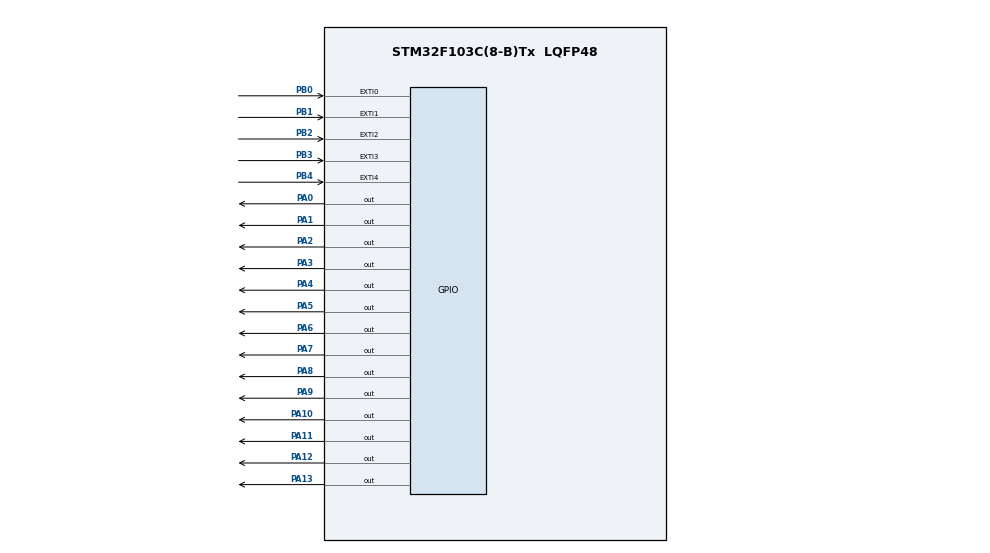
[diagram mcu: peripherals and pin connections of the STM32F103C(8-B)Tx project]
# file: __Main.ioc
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Mcu.Family=STM32F1
Mcu.Name=STM32F103C(8-B)Tx
Mcu.Package=LQFP48
NVIC.EXTI0_IRQn=true\:2\:0\:true\:false\:true\:true\:true\:true
NVIC.EXTI1_IRQn=true\:0\:0\:false\:false\:true\:true\:true\:true
NVIC.EXTI2_IRQn=true\:0\:0\:false\:false\:true\:true\:true\:true
NVIC.EXTI3_IRQn=true\:0\:0\:false\:false\:true\:true\:true\:true
NVIC.EXTI4_IRQn=true\:0\:0\:false\:false\:true\:true\:true\:true
NVIC.PriorityGroup=NVIC_PRIORITYGROUP_4
NVIC.TIM2_IRQn=true\:1\:0\:true\:false\:true\:true\:true\:true
PA0-WKUP.Signal=GPIO_Output
PA1.Signal=GPIO_Output
PA10.Signal=GPIO_Output
PA11.Signal=GPIO_Output
PA12.Signal=GPIO_Output
PA13.Signal=GPIO_Output
PA2.Signal=GPIO_Output
PA3.Signal=GPIO_Output
PA4.Signal=GPIO_Output
PA5.Signal=GPIO_Output
PA6.Signal=GPIO_Output
PA7.Signal=GPIO_Output
PA8.Signal=GPIO_Output
PA9.Signal=GPIO_Output
PB0.Signal=GPXTI0
PB1.Signal=GPXTI1
PB2.Signal=GPXTI2
PB3.Signal=GPXTI3
PB4.Signal=GPXTI4
ProjectManager.HeapSize=0x200
ProjectManager.StackSize=0x400
ProjectManager.TargetToolchain=STM32CubeIDE
RCC.AHBFreq_Value=8000000
RCC.APB1Freq_Value=8000000
RCC.APB1TimFreq_Value=8000000
RCC.APB2CLKDivider=RCC_HCLK_DIV2
RCC.APB2Freq_Value=4000000
RCC.APB2TimFreq_Value=8000000
RCC.HCLKFreq_Value=8000000
TIM2.Period=8000-1
TIM2.Prescaler=1000-1
VP_SYS_VS_ND.Mode=No_Debug
VP_TIM2_VS_ClockSourceINT.Mode=Internal
board=custom

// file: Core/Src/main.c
/* USER CODE BEGIN Header */
/**
 ******************************************************************************
 * @file           : main.c
 * @brief          : Main program body
 ******************************************************************************
 * @attention
 *
 * Copyright (c) 2023 STMicroelectronics.
 * All rights reserved.
 *
 * This software is licensed under terms that can be found in the LICENSE file
 * in the root directory of this software component.
 * If no LICENSE file comes with this software, it is provided AS-IS.
 *
 ******************************************************************************
 */
/* USER CODE END Header */
#include "main.h"

/* USER CODE BEGIN PD */
// Define GPIO port and pin numbers for segment and digit pins
#define SEGMENT_PORT GPIOA
#define DIGIT_PORT GPIOA
#define SEGMENT_PIN_A GPIO_PIN_0
#define SEGMENT_PIN_B GPIO_PIN_1
#define SEGMENT_PIN_C GPIO_PIN_2
#define SEGMENT_PIN_D GPIO_PIN_3
#define SEGMENT_PIN_E GPIO_PIN_4
#define SEGMENT_PIN_F GPIO_PIN_5
#define SEGMENT_PIN_G GPIO_PIN_6
#define DIGIT_PIN_1 GPIO_PIN_7
#define DIGIT_PIN_2 GPIO_PIN_8
#define DIGIT_PIN_3 GPIO_PIN_9
#define DIGIT_PIN_4 GPIO_PIN_10
#define DIGIT_PIN_5 GPIO_PIN_11
#define DIGIT_PIN_6 GPIO_PIN_12

// Lookup table for segment configurations for each digit (0-9)
const uint8_t segmentConfigurations[10] = {
SEGMENT_PIN_A | SEGMENT_PIN_B | SEGMENT_PIN_C | SEGMENT_PIN_D | SEGMENT_PIN_E
		| SEGMENT_PIN_F,                 // Digit 0
		SEGMENT_PIN_B | SEGMENT_PIN_C,                                // Digit 1
		SEGMENT_PIN_A | SEGMENT_PIN_B | SEGMENT_PIN_D | SEGMENT_PIN_E
				| SEGMENT_PIN_G,                                 // Digit 2
		SEGMENT_PIN_A | SEGMENT_PIN_B | SEGMENT_PIN_C | SEGMENT_PIN_D
				| SEGMENT_PIN_G,                                 // Digit 3
		SEGMENT_PIN_B | SEGMENT_PIN_C | SEGMENT_PIN_F | SEGMENT_PIN_G, // Digit 4
		SEGMENT_PIN_A | SEGMENT_PIN_C | SEGMENT_PIN_D | SEGMENT_PIN_F
				| SEGMENT_PIN_G,                                 // Digit 5
		SEGMENT_PIN_A | SEGMENT_PIN_C | SEGMENT_PIN_D | SEGMENT_PIN_E
				| SEGMENT_PIN_F | SEGMENT_PIN_G,                 // Digit 6
		SEGMENT_PIN_A | SEGMENT_PIN_B | SEGMENT_PIN_C,                // Digit 7
		SEGMENT_PIN_A | SEGMENT_PIN_B | SEGMENT_PIN_C | SEGMENT_PIN_D
				| SEGMENT_PIN_E | SEGMENT_PIN_F | SEGMENT_PIN_G, // Digit 8
		SEGMENT_PIN_A | SEGMENT_PIN_B | SEGMENT_PIN_C | SEGMENT_PIN_D
				| SEGMENT_PIN_F | SEGMENT_PIN_G                  // Digit 9
};

uint8_t num1 = 0, num2 = 0, num3 = 0, num4 = 0, num5 = 0, num6 = 0;

int run_status = 0;

/* USER CODE END PD */

TIM_HandleTypeDef htim2;

void SystemClock_Config(void);
static void MX_GPIO_Init(void);
static void MX_TIM2_Init(void);
/* USER CODE BEGIN PFP */
void Normalize_Digits() {
	if (num1 > 9) {
		num1 = 0;
		num2++;
	}
	if (num2 > 5) {
		num2 = 0;
		num3++;
	}
	if (num3 > 9) {
		num3 = 0;
		num4++;
	}
	if (num4 > 5) {
		num4 = 0;
		num5++;
	}
	if (num5 > 9) {
		num5 = 0;
		num6++;
	}
	if (num6 > 9) {
		num6 = 0;
	}
}

void HAL_TIM_PeriodElapsedCallback(TIM_HandleTypeDef *htim) {
	if (htim->Instance == TIM2) {
		if (run_status == 1) {
			num1++;
			Normalize_Digits();
		}
	}
}

void HAL_GPIO_EXTI_Callback(uint16_t GPIO_Pin) {
	if (GPIO_Pin == GPIO_PIN_0) {
		num1 = 0, num2 = 0, num3 = 0, num4 = 0, num5 = 0, num6 = 0;
	}

	if (GPIO_Pin == GPIO_PIN_1) {
		num1++;
		Normalize_Digits();
	}

	if (GPIO_Pin == GPIO_PIN_2) {
		num3++;
		Normalize_Digits();
	}

	if (GPIO_Pin == GPIO_PIN_3) {
		num5++;
		Normalize_Digits();
	}

	if (GPIO_Pin == GPIO_PIN_4) {
		if (run_status == 0)
			run_status = 1;
		else
			run_status = 0;
	}

}

/* USER CODE END PFP */

/* USER CODE BEGIN 0 */
// Function to display a digit on a specific position of the 6-digit seven-segment display
void displayDigitOnSegment(uint8_t digit, uint8_t position) {
// Turn off all segment pins
	HAL_GPIO_WritePin(SEGMENT_PORT,
	SEGMENT_PIN_A | SEGMENT_PIN_B | SEGMENT_PIN_C |
	SEGMENT_PIN_D | SEGMENT_PIN_E | SEGMENT_PIN_F | SEGMENT_PIN_G,
			GPIO_PIN_RESET);

// Turn off all digit pins
	HAL_GPIO_WritePin(DIGIT_PORT, DIGIT_PIN_1 | DIGIT_PIN_2 | DIGIT_PIN_3 |
	DIGIT_PIN_4 | DIGIT_PIN_5 | DIGIT_PIN_6, GPIO_PIN_SET);

// Set the specific segment pins for the given digit position
	if (position >= 1 && position <= 6) {
		// Set segment pins based on the digit configuration
		HAL_GPIO_WritePin(SEGMENT_PORT, segmentConfigurations[digit],
				GPIO_PIN_SET);

		// Set the specific digit pin for the given digit position
		switch (position) {
		case 1:
			// Set digit 1 pin high
			HAL_GPIO_WritePin(DIGIT_PORT, DIGIT_PIN_1, GPIO_PIN_RESET);
			break;
		case 2:
			// Set digit 2 pin high
			HAL_GPIO_WritePin(DIGIT_PORT, DIGIT_PIN_2, GPIO_PIN_RESET);
			break;
		case 3:
			// Set digit 3 pin high
			HAL_GPIO_WritePin(DIGIT_PORT, DIGIT_PIN_3, GPIO_PIN_RESET);
			break;
		case 4:
			// Set digit 4 pin high
			HAL_GPIO_WritePin(DIGIT_PORT, DIGIT_PIN_4, GPIO_PIN_RESET);
			break;
		case 5:
			// Set digit 5 pin high
			HAL_GPIO_WritePin(DIGIT_PORT, DIGIT_PIN_5, GPIO_PIN_RESET);
			break;
		case 6:
			// Set digit 6 pin high
			HAL_GPIO_WritePin(DIGIT_PORT, DIGIT_PIN_6, GPIO_PIN_RESET);
			break;
		default:
			// Invalid position, do nothing or handle the error as needed
			break;
		}
	}
}

void updateAllDigits() {
	displayDigitOnSegment(num1, 6);
	HAL_Delay(1);
	displayDigitOnSegment(num2, 5);
	HAL_Delay(1);
	displayDigitOnSegment(num3, 4);
	HAL_Delay(1);
	displayDigitOnSegment(num4, 3);
	HAL_Delay(1);
	displayDigitOnSegment(num5, 2);
	HAL_Delay(1);
	displayDigitOnSegment(num6, 1);
	HAL_Delay(1);
}
/* USER CODE END 0 */

int main(void)
{

  /* MCU Configuration--------------------------------------------------------*/

  /* Reset of all peripherals, Initializes the Flash interface and the Systick. */
  HAL_Init();

  /* Configure the system clock */
  SystemClock_Config();

  /* Initialize all configured peripherals */
  MX_GPIO_Init();
  MX_TIM2_Init();
  /* USER CODE BEGIN 2 */

	HAL_TIM_Base_Start_IT(&htim2);
  /* USER CODE END 2 */

  /* Infinite loop */
	while (1) {

    /* USER CODE BEGIN 3 */

		updateAllDigits();
	}
  /* USER CODE END 3 */
}

void SystemClock_Config(void)
{
  RCC_OscInitTypeDef RCC_OscInitStruct = {0};
  RCC_ClkInitTypeDef RCC_ClkInitStruct = {0};

  /** Initializes the RCC Oscillators according to the specified parameters
  * in the RCC_OscInitTypeDef structure.
  */
  RCC_OscInitStruct.OscillatorType = RCC_OSCILLATORTYPE_HSI;
  RCC_OscInitStruct.HSIState = RCC_HSI_ON;
  RCC_OscInitStruct.HSICalibrationValue = RCC_HSICALIBRATION_DEFAULT;
  RCC_OscInitStruct.PLL.PLLState = RCC_PLL_NONE;
  if (HAL_RCC_OscConfig(&RCC_OscInitStruct) != HAL_OK)
  {
    Error_Handler();
  }

  /** Initializes the CPU, AHB and APB buses clocks
  */
  RCC_ClkInitStruct.ClockType = RCC_CLOCKTYPE_HCLK|RCC_CLOCKTYPE_SYSCLK
                              |RCC_CLOCKTYPE_PCLK1|RCC_CLOCKTYPE_PCLK2;
  RCC_ClkInitStruct.SYSCLKSource = RCC_SYSCLKSOURCE_HSI;
  RCC_ClkInitStruct.AHBCLKDivider = RCC_SYSCLK_DIV1;
  RCC_ClkInitStruct.APB1CLKDivider = RCC_HCLK_DIV1;
  RCC_ClkInitStruct.APB2CLKDivider = RCC_HCLK_DIV2;

  if (HAL_RCC_ClockConfig(&RCC_ClkInitStruct, FLASH_LATENCY_0) != HAL_OK)
  {
    Error_Handler();
  }
}

static void MX_TIM2_Init(void)
{

  TIM_ClockConfigTypeDef sClockSourceConfig = {0};
  TIM_MasterConfigTypeDef sMasterConfig = {0};

  htim2.Instance = TIM2;
  htim2.Init.Prescaler = 1000-1;
  htim2.Init.CounterMode = TIM_COUNTERMODE_UP;
  htim2.Init.Period = 8000-1;
  htim2.Init.ClockDivision = TIM_CLOCKDIVISION_DIV1;
  htim2.Init.AutoReloadPreload = TIM_AUTORELOAD_PRELOAD_DISABLE;
  if (HAL_TIM_Base_Init(&htim2) != HAL_OK)
  {
    Error_Handler();
  }
  sClockSourceConfig.ClockSource = TIM_CLOCKSOURCE_INTERNAL;
  if (HAL_TIM_ConfigClockSource(&htim2, &sClockSourceConfig) != HAL_OK)
  {
    Error_Handler();
  }
  sMasterConfig.MasterOutputTrigger = TIM_TRGO_RESET;
  sMasterConfig.MasterSlaveMode = TIM_MASTERSLAVEMODE_DISABLE;
  if (HAL_TIMEx_MasterConfigSynchronization(&htim2, &sMasterConfig) != HAL_OK)
  {
    Error_Handler();
  }

}

static void MX_GPIO_Init(void)
{
  GPIO_InitTypeDef GPIO_InitStruct = {0};

  /* GPIO Ports Clock Enable */
  __HAL_RCC_GPIOA_CLK_ENABLE();
  __HAL_RCC_GPIOB_CLK_ENABLE();

  /*Configure GPIO pin Output Level */
  HAL_GPIO_WritePin(GPIOA, GPIO_PIN_0|GPIO_PIN_1|GPIO_PIN_2|GPIO_PIN_3
                          |GPIO_PIN_4|GPIO_PIN_5|GPIO_PIN_6|GPIO_PIN_7
                          |GPIO_PIN_8|GPIO_PIN_9|GPIO_PIN_10|GPIO_PIN_11
                          |GPIO_PIN_12|GPIO_PIN_13, GPIO_PIN_RESET);

  /*Configure GPIO pins : PA0 PA1 PA2 PA3
                           PA4 PA5 PA6 PA7
                           PA8 PA9 PA10 PA11
                           PA12 PA13 */
  GPIO_InitStruct.Pin = GPIO_PIN_0|GPIO_PIN_1|GPIO_PIN_2|GPIO_PIN_3
                          |GPIO_PIN_4|GPIO_PIN_5|GPIO_PIN_6|GPIO_PIN_7
                          |GPIO_PIN_8|GPIO_PIN_9|GPIO_PIN_10|GPIO_PIN_11
                          |GPIO_PIN_12|GPIO_PIN_13;
  GPIO_InitStruct.Mode = GPIO_MODE_OUTPUT_PP;
  GPIO_InitStruct.Pull = GPIO_NOPULL;
  GPIO_InitStruct.Speed = GPIO_SPEED_FREQ_LOW;
  HAL_GPIO_Init(GPIOA, &GPIO_InitStruct);

  /*Configure GPIO pins : PB0 PB1 PB2 PB3
                           PB4 */
  GPIO_InitStruct.Pin = GPIO_PIN_0|GPIO_PIN_1|GPIO_PIN_2|GPIO_PIN_3
                          |GPIO_PIN_4;
  GPIO_InitStruct.Mode = GPIO_MODE_IT_RISING;
  GPIO_InitStruct.Pull = GPIO_NOPULL;
  HAL_GPIO_Init(GPIOB, &GPIO_InitStruct);

  /* EXTI interrupt init*/
  HAL_NVIC_SetPriority(EXTI0_IRQn, 2, 0);
  HAL_NVIC_EnableIRQ(EXTI0_IRQn);

  HAL_NVIC_SetPriority(EXTI1_IRQn, 0, 0);
  HAL_NVIC_EnableIRQ(EXTI1_IRQn);

  HAL_NVIC_SetPriority(EXTI2_IRQn, 0, 0);
  HAL_NVIC_EnableIRQ(EXTI2_IRQn);

  HAL_NVIC_SetPriority(EXTI3_IRQn, 0, 0);
  HAL_NVIC_EnableIRQ(EXTI3_IRQn);

  HAL_NVIC_SetPriority(EXTI4_IRQn, 0, 0);
  HAL_NVIC_EnableIRQ(EXTI4_IRQn);

}

void Error_Handler(void)
{
	__disable_irq();
	while (1) {
	}
}
